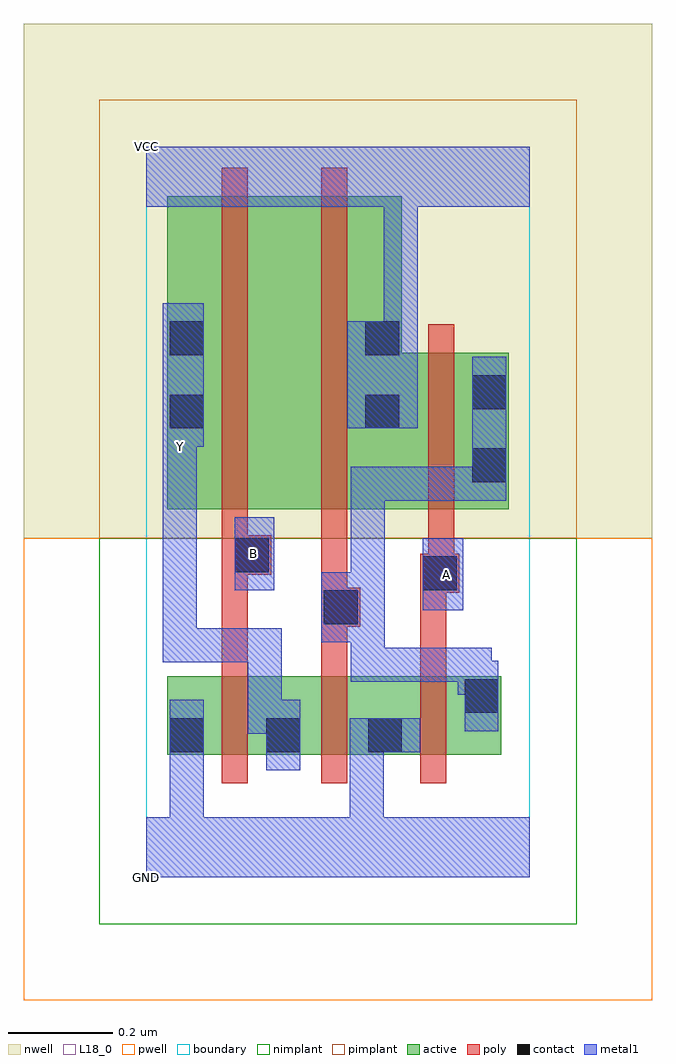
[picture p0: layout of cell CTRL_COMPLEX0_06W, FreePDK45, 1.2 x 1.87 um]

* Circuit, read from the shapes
.subckt CTRL_COMPLEX0_06W A B GND VCC Y
M1 Y B GND VSUBS nfet w=0.15u l=0.05u
M2 GND n1 Y VSUBS nfet w=0.15u l=0.05u
M3 n1 A GND VSUBS nfet w=0.15u l=0.05u
M4 n2 B Y n3 pfet w=0.6u l=0.05u
M5 VCC n1 n2 n3 pfet w=0.6u l=0.05u
M6 n1 A VCC n3 pfet w=0.3u l=0.05u
.ends

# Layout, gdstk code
import gdstk
lib = gdstk.Library(unit=1e-6, precision=1e-09)
def R(c, l, rs):  # rectangles x0, y0, x1, y1
    for r in rs: c.add(gdstk.rectangle(r[:2], r[2:], *l))
def A(c, l, x, y, w, h, nx, ny, dx, dy):  # array of equal rectangles
    R(c, l, [(x+i*dx, y+j*dy, x+i*dx+w, y+j*dy+h) for i in range(nx) for j in range(ny)])
active = (1, 0)
pwell = (2, 0)
nwell = (3, 0)
nimplant = (4, 0)
pimplant = (5, 0)
poly = (9, 0)
contact = (10, 0)
metal1 = (11, 0)
L18_0 = (18, 0)
boundary = (235, 0)

ctrl_complex0_06w = lib.new_cell('CTRL_COMPLEX0_06W')
R(ctrl_complex0_06w, active, [(0.04,0.235,0.115,0.385), (0.04,0.235,0.3,0.385), (0.225,0.235,0.495,0.385), (0.225,0.235,0.3,0.31), (0.42,0.235,0.68,0.385), (0.42,0.235,0.495,0.312), (0.605,0.235,0.68,0.385), (0.04,0.705,0.265,1.305), (0.04,0.705,0.145,1.2), (0.265,0.705,0.49,1.305), (0.415,0.705,0.695,1.005), (0.415,0.705,0.49,1.1), (0.62,0.705,0.695,1.005)])
R(ctrl_complex0_06w, pwell, [(-0.235,-0.235,0.97,0.65)])
R(ctrl_complex0_06w, nwell, [(-0.235,0.65,0.97,1.635)])
R(ctrl_complex0_06w, nimplant, [(-0.09,-0.09,0.825,0.65)])
R(ctrl_complex0_06w, pimplant, [(-0.09,0.65,0.825,1.49)])
A(ctrl_complex0_06w, poly, 0.145, 0.18, 0.05, 0.26, 3, 1, 0.19, 0)
R(ctrl_complex0_06w, poly, [(0.145,0.39,0.195,0.63), (0.335,0.39,0.385,0.53), (0.525,0.39,0.575,0.595), (0.335,0.48,0.41,0.555), (0.335,0.505,0.385,0.7), (0.525,0.545,0.6,0.62), (0.54,0.57,0.59,0.7), (0.145,0.58,0.24,0.655), (0.145,0.605,0.195,0.7), (0.145,0.65,0.195,1.36), (0.335,0.65,0.385,1.36), (0.54,0.65,0.59,1.06)])
R(ctrl_complex0_06w, contact, [(0.045,0.24,0.11,0.305), (0.23,0.24,0.295,0.305), (0.425,0.24,0.49,0.305), (0.61,0.315,0.675,0.38), (0.34,0.485,0.405,0.55), (0.53,0.55,0.595,0.615), (0.17,0.585,0.235,0.65), (0.625,0.757,0.69,0.822), (0.045,0.86,0.11,0.925), (0.42,0.86,0.485,0.925), (0.625,0.897,0.69,0.962), (0.045,1,0.11,1.065), (0.42,1,0.485,1.065)])
R(ctrl_complex0_06w, metal1, [(0,0,0.735,0.115), (0.045,0.05,0.11,0.202), (0.39,0.05,0.455,0.115), (0.39,0.05,0.455,0.115), (0.39,0.05,0.455,0.115), (0.39,0.05,0.455,0.115), (0.39,0.05,0.455,0.305), (0.045,0.137,0.11,0.202), (0.045,0.137,0.11,0.27), (0.045,0.205,0.11,0.34), (0.045,0.205,0.11,0.27), (0.045,0.205,0.11,0.27), (0.045,0.205,0.11,0.27), (0.045,0.205,0.11,0.27), (0.23,0.205,0.295,0.34), (0.39,0.24,0.455,0.305), (0.39,0.24,0.455,0.305), (0.39,0.24,0.525,0.305), (0.195,0.275,0.295,0.34), (0.195,0.275,0.26,0.477), (0.61,0.28,0.675,0.415), (0.597,0.35,0.675,0.415), (0.597,0.35,0.662,0.44), (0.392,0.375,0.457,0.44), (0.392,0.375,0.662,0.44), (0.392,0.375,0.457,0.575), (0.032,0.412,0.097,0.477), (0.032,0.412,0.26,0.477), (0.032,0.412,0.097,0.822), (0.335,0.45,0.41,0.585), (0.345,0.51,0.457,0.575), (0.392,0.51,0.457,0.575), (0.392,0.51,0.457,0.787), (0.53,0.512,0.607,0.65), (0.17,0.55,0.245,0.69), (0.392,0.722,0.625,0.787), (0.392,0.722,0.457,0.787), (0.56,0.722,0.69,0.787), (0.56,0.722,0.625,0.787), (0.625,0.722,0.69,0.997), (0.032,0.757,0.097,0.892), (0.032,0.825,0.097,0.89), (0.032,0.825,0.11,1.1), (0.385,0.86,0.52,1.065), (0.455,1,0.52,1.35), (0,1.285,0.735,1.4)])
R(ctrl_complex0_06w, L18_0, [(0,0,0.735,0.115), (0.045,0.05,0.11,0.202), (0.39,0.05,0.455,0.115), (0.39,0.05,0.455,0.115), (0.39,0.05,0.455,0.115), (0.39,0.05,0.455,0.115), (0.39,0.05,0.455,0.305), (0.045,0.137,0.11,0.202), (0.045,0.137,0.11,0.27), (0.045,0.205,0.11,0.27), (0.045,0.205,0.11,0.27), (0.045,0.205,0.11,0.27), (0.045,0.205,0.11,0.27), (0.045,0.205,0.11,0.34), (0.23,0.205,0.295,0.34), (0.39,0.24,0.455,0.305), (0.39,0.24,0.455,0.305), (0.39,0.24,0.525,0.305), (0.195,0.275,0.26,0.477), (0.195,0.275,0.295,0.34), (0.032,0.412,0.097,0.477), (0.032,0.412,0.097,0.822), (0.032,0.412,0.26,0.477), (0.53,0.512,0.607,0.65), (0.542,0.547,0.607,0.612), (0.17,0.55,0.245,0.69), (0.172,0.587,0.237,0.652), (0.032,0.757,0.097,0.892), (0.032,0.792,0.097,0.857), (0.032,0.825,0.097,0.89), (0.032,0.825,0.11,1.1), (0.385,0.86,0.52,1.065), (0.455,1,0.52,1.35), (0,1.285,0.735,1.4)])
R(ctrl_complex0_06w, boundary, [(0,0,0.735,1.4)])
ctrl_complex0_06w.add(gdstk.Label('A', (0.575,0.58), layer=11, texttype=0))
ctrl_complex0_06w.add(gdstk.Label('B', (0.205,0.62), layer=11, texttype=0))
ctrl_complex0_06w.add(gdstk.Label('Y', (0.065,0.825), layer=11, texttype=0))
ctrl_complex0_06w.add(gdstk.Label('VCC', (0,1.4), layer=11, texttype=0))
ctrl_complex0_06w.add(gdstk.Label('GND', (0,0), layer=11, texttype=0))

lib.write_gds('CTRL_COMPLEX0_06W.gds')
